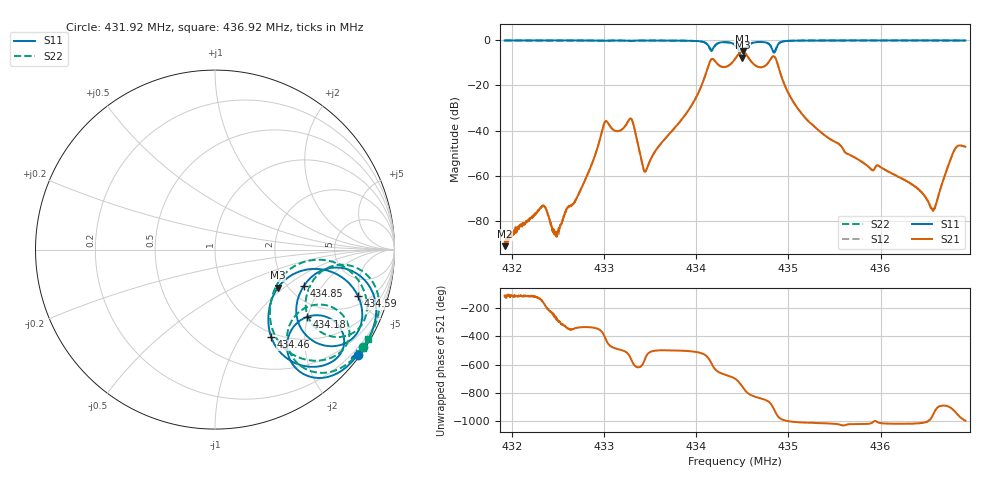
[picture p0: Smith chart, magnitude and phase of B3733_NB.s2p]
! Matrix data file written by TouchstoneData, EPCOS AG
! FILENAME: "newformat_B3733_SB.s2p"
! COMMENT: "PINNING IN=1; OUT=4; UNMATCHED 14 Mar 2006 S1"
! INFO: nport=2, nfreq=1601
! DATE: "Wed Sep 19 14:23:24 2012"
! USER: "Wilfried Schott"
! port | pin | signal
!  1  |  1  |  IN
!  2  |  4  |  OUT
# MHZ S MA R 50
! freq  magS11 angS11  magS21 angS21  magS12 angS12  magS22 angS22
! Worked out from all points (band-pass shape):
!   1601 points, 431.92 MHz to 436.92 MHz, reference 50 ohm
!   highest |S21| = -4.78 dB at 434.5 MHz (marker M1); lowest = -91.1 dB at 431.92 MHz (marker M2)
!   |S21| within 3 dB of the highest: 434.429 MHz to 434.5664 MHz (137.3 kHz wide, 0.0316 % of centre); 434.8158 MHz to 434.8582 MHz (42.36 kHz wide, 0.00974 % of centre)
!   lowest |S11| = -7.8 dB at 434.5 MHz (marker M3), VSWR 2.39, Z = 89 - j45.4 ohm
!   |S11| at or under -10 dB: nowhere
!   |S22| runs from -8.0 to -0.1 dB; largest |S21 - S12| = 0.0015
!   S11 on the Smith chart (normalised r, x): 431.92 MHz: 0.05, -3.05; 434.18 MHz: 1.58, -1.99; 434.46 MHz: 0.93, -1.38; 434.59 MHz: 2.72, -4.79; 434.85 MHz: 2.42, -1.37; 436.92 MHz: 0.08, -3.31
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431.92  0.9897 -36.3  2.787e-05 -111.8  3.292e-05 -109.1  0.9882 -33.2
432.3388  0.9893 -36.7  0.000216 -158.6  0.0002195 -158.9  0.9879 -33.6
432.5263  0.989 -37.0  8.114e-05 53.0  7.918e-05 54.4  0.9877 -33.8
432.7544  0.9883 -37.4  0.0005412 24.6  0.0005374 24.8  0.987 -34.2
433.0169  0.9728 -37.6  0.01626 -60.0  0.01625 -59.7  0.972 -34.5
433.295  0.9714 -38.2  0.01821 154.4  0.0182 154.7  0.968 -35.1
433.4419  0.9863 -38.6  0.001242 157.3  0.001248 157.9  0.9849 -35.5
433.5888  0.9862 -39.5  0.004415 -139.7  0.004416 -139.4  0.9845 -36.5
434.0825  0.9125 -51.6  0.1369 -166.9  0.1369 -166.7  0.9048 -49.4
434.1763  0.6362 -36.1  0.388 114.1  0.3878 114.3  0.6072 -31.6
434.42  0.7939 -53.8  0.3845 20.6  0.3845 20.8  0.785 -51.0
434.4638  0.5805 -57.3  0.5128 -5.0  0.5128 -4.8  0.5594 -54.6
434.5013  0.4094 -31.2  0.5766 -36.5  0.5764 -36.4  0.3975 -25.6
434.5044  0.414 -27.3  0.577 -39.5  0.5766 -39.4  0.404 -21.7
434.5888  0.8391 -18.1  0.3527 -94.1  0.3522 -93.8  0.8392 -13.7
434.7794  0.8502 -39.3  0.3158 -139.8  0.3156 -139.6  0.857 -34.5
434.8481  0.5353 -22.0  0.4311 158.0  0.4307 158.2  0.5687 -19.3
435.2544  0.9872 -28.7  0.01387 69.1  0.01386 69.2  0.9862 -25.5
436.0888  0.9898 -32.5  0.001219 62.8  0.001227 62.8  0.9887 -29.2
436.57  0.9895 -33.3  0.0001667 126.4  0.0001774 126.8  0.9888 -30.0
436.7981  0.9861 -33.6  0.003633 154.2  0.003631 154.5  0.985 -30.4
436.92  0.9874 -33.6  0.004418 83.3  0.004425 83.6  0.9863 -30.3
